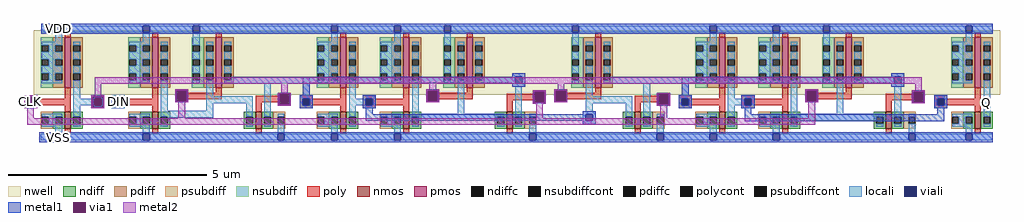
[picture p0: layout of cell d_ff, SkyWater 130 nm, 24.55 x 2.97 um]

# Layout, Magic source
magic
tech sky130A
magscale 1 2
<< nwell >>
rect -96 -288 4765 36
<< nmos >>
rect 60 -458 90 -374
rect 500 -458 530 -374
rect 1020 -458 1050 -374
rect 1447 -458 1477 -374
rect 1764 -458 1794 -374
rect 2283 -458 2313 -374
rect 2928 -458 2958 -374
rect 3353 -458 3383 -374
rect 3669 -458 3699 -374
rect 4190 -458 4220 -374
rect 4639 -458 4669 -374
<< pmos >>
rect 60 -252 90 0
rect 500 -252 530 0
rect 820 -252 850 0
rect 1447 -252 1477 0
rect 1764 -252 1794 0
rect 2083 -252 2113 0
rect 2728 -252 2758 0
rect 3353 -252 3383 0
rect 3669 -252 3699 0
rect 3990 -252 4020 0
rect 4639 -252 4669 0
<< ndiff >>
rect 0 -399 60 -374
rect 0 -433 13 -399
rect 47 -433 60 -399
rect 0 -458 60 -433
rect 90 -399 150 -374
rect 90 -433 103 -399
rect 137 -433 150 -399
rect 90 -458 150 -433
rect 440 -399 500 -374
rect 440 -433 453 -399
rect 487 -433 500 -399
rect 440 -458 500 -433
rect 530 -399 590 -374
rect 530 -433 543 -399
rect 577 -433 590 -399
rect 530 -458 590 -433
rect 960 -399 1020 -374
rect 960 -433 973 -399
rect 1007 -433 1020 -399
rect 960 -458 1020 -433
rect 1050 -399 1110 -374
rect 1050 -433 1063 -399
rect 1097 -433 1110 -399
rect 1050 -458 1110 -433
rect 1387 -399 1447 -374
rect 1387 -433 1400 -399
rect 1434 -433 1447 -399
rect 1387 -458 1447 -433
rect 1477 -399 1537 -374
rect 1477 -433 1490 -399
rect 1524 -433 1537 -399
rect 1477 -458 1537 -433
rect 1704 -399 1764 -374
rect 1704 -433 1717 -399
rect 1751 -433 1764 -399
rect 1704 -458 1764 -433
rect 1794 -399 1854 -374
rect 1794 -433 1807 -399
rect 1841 -433 1854 -399
rect 1794 -458 1854 -433
rect 2223 -399 2283 -374
rect 2223 -433 2236 -399
rect 2270 -433 2283 -399
rect 2223 -458 2283 -433
rect 2313 -399 2373 -374
rect 2313 -433 2326 -399
rect 2360 -433 2373 -399
rect 2313 -458 2373 -433
rect 2868 -399 2928 -374
rect 2868 -433 2881 -399
rect 2915 -433 2928 -399
rect 2868 -458 2928 -433
rect 2958 -399 3018 -374
rect 2958 -433 2971 -399
rect 3005 -433 3018 -399
rect 2958 -458 3018 -433
rect 3293 -399 3353 -374
rect 3293 -433 3306 -399
rect 3340 -433 3353 -399
rect 3293 -458 3353 -433
rect 3383 -399 3443 -374
rect 3383 -433 3396 -399
rect 3430 -433 3443 -399
rect 3383 -458 3443 -433
rect 3609 -399 3669 -374
rect 3609 -433 3622 -399
rect 3656 -433 3669 -399
rect 3609 -458 3669 -433
rect 3699 -399 3759 -374
rect 3699 -433 3712 -399
rect 3746 -433 3759 -399
rect 3699 -458 3759 -433
rect 4130 -399 4190 -374
rect 4130 -433 4143 -399
rect 4177 -433 4190 -399
rect 4130 -458 4190 -433
rect 4220 -399 4280 -374
rect 4220 -433 4233 -399
rect 4267 -433 4280 -399
rect 4220 -458 4280 -433
rect 4579 -399 4639 -374
rect 4579 -433 4592 -399
rect 4626 -433 4639 -399
rect 4579 -458 4639 -433
rect 4669 -399 4729 -374
rect 4669 -433 4682 -399
rect 4716 -433 4729 -399
rect 4669 -458 4729 -433
<< pdiff >>
rect 0 -38 60 0
rect 0 -72 13 -38
rect 47 -72 60 -38
rect 0 -109 60 -72
rect 0 -143 13 -109
rect 47 -143 60 -109
rect 0 -181 60 -143
rect 0 -215 13 -181
rect 47 -215 60 -181
rect 0 -252 60 -215
rect 90 -38 150 0
rect 90 -72 103 -38
rect 137 -72 150 -38
rect 90 -109 150 -72
rect 90 -143 103 -109
rect 137 -143 150 -109
rect 90 -181 150 -143
rect 90 -215 103 -181
rect 137 -215 150 -181
rect 90 -252 150 -215
rect 440 -38 500 0
rect 440 -72 453 -38
rect 487 -72 500 -38
rect 440 -109 500 -72
rect 440 -143 453 -109
rect 487 -143 500 -109
rect 440 -181 500 -143
rect 440 -215 453 -181
rect 487 -215 500 -181
rect 440 -252 500 -215
rect 530 -38 590 0
rect 530 -72 543 -38
rect 577 -72 590 -38
rect 530 -109 590 -72
rect 530 -143 543 -109
rect 577 -143 590 -109
rect 530 -181 590 -143
rect 530 -215 543 -181
rect 577 -215 590 -181
rect 530 -252 590 -215
rect 760 -38 820 0
rect 760 -72 773 -38
rect 807 -72 820 -38
rect 760 -109 820 -72
rect 760 -143 773 -109
rect 807 -143 820 -109
rect 760 -181 820 -143
rect 760 -215 773 -181
rect 807 -215 820 -181
rect 760 -252 820 -215
rect 850 -38 910 0
rect 850 -72 863 -38
rect 897 -72 910 -38
rect 850 -109 910 -72
rect 850 -143 863 -109
rect 897 -143 910 -109
rect 850 -181 910 -143
rect 850 -215 863 -181
rect 897 -215 910 -181
rect 850 -252 910 -215
rect 1387 -38 1447 0
rect 1387 -72 1400 -38
rect 1434 -72 1447 -38
rect 1387 -109 1447 -72
rect 1387 -143 1400 -109
rect 1434 -143 1447 -109
rect 1387 -181 1447 -143
rect 1387 -215 1400 -181
rect 1434 -215 1447 -181
rect 1387 -252 1447 -215
rect 1477 -38 1537 0
rect 1477 -72 1490 -38
rect 1524 -72 1537 -38
rect 1477 -109 1537 -72
rect 1477 -143 1490 -109
rect 1524 -143 1537 -109
rect 1477 -181 1537 -143
rect 1477 -215 1490 -181
rect 1524 -215 1537 -181
rect 1477 -252 1537 -215
rect 1704 -38 1764 0
rect 1704 -72 1717 -38
rect 1751 -72 1764 -38
rect 1704 -109 1764 -72
rect 1704 -143 1717 -109
rect 1751 -143 1764 -109
rect 1704 -181 1764 -143
rect 1704 -215 1717 -181
rect 1751 -215 1764 -181
rect 1704 -252 1764 -215
rect 1794 -38 1854 0
rect 1794 -72 1807 -38
rect 1841 -72 1854 -38
rect 1794 -109 1854 -72
rect 1794 -143 1807 -109
rect 1841 -143 1854 -109
rect 1794 -181 1854 -143
rect 1794 -215 1807 -181
rect 1841 -215 1854 -181
rect 1794 -252 1854 -215
rect 2023 -38 2083 0
rect 2023 -72 2036 -38
rect 2070 -72 2083 -38
rect 2023 -109 2083 -72
rect 2023 -143 2036 -109
rect 2070 -143 2083 -109
rect 2023 -181 2083 -143
rect 2023 -215 2036 -181
rect 2070 -215 2083 -181
rect 2023 -252 2083 -215
rect 2113 -38 2173 0
rect 2113 -72 2126 -38
rect 2160 -72 2173 -38
rect 2113 -109 2173 -72
rect 2113 -143 2126 -109
rect 2160 -143 2173 -109
rect 2113 -181 2173 -143
rect 2113 -215 2126 -181
rect 2160 -215 2173 -181
rect 2113 -252 2173 -215
rect 2668 -38 2728 0
rect 2668 -72 2681 -38
rect 2715 -72 2728 -38
rect 2668 -109 2728 -72
rect 2668 -143 2681 -109
rect 2715 -143 2728 -109
rect 2668 -181 2728 -143
rect 2668 -215 2681 -181
rect 2715 -215 2728 -181
rect 2668 -252 2728 -215
rect 2758 -38 2818 0
rect 2758 -72 2771 -38
rect 2805 -72 2818 -38
rect 2758 -109 2818 -72
rect 2758 -143 2771 -109
rect 2805 -143 2818 -109
rect 2758 -181 2818 -143
rect 2758 -215 2771 -181
rect 2805 -215 2818 -181
rect 2758 -252 2818 -215
rect 3293 -38 3353 0
rect 3293 -72 3306 -38
rect 3340 -72 3353 -38
rect 3293 -109 3353 -72
rect 3293 -143 3306 -109
rect 3340 -143 3353 -109
rect 3293 -181 3353 -143
rect 3293 -215 3306 -181
rect 3340 -215 3353 -181
rect 3293 -252 3353 -215
rect 3383 -38 3443 0
rect 3383 -72 3396 -38
rect 3430 -72 3443 -38
rect 3383 -109 3443 -72
rect 3383 -143 3396 -109
rect 3430 -143 3443 -109
rect 3383 -181 3443 -143
rect 3383 -215 3396 -181
rect 3430 -215 3443 -181
rect 3383 -252 3443 -215
rect 3609 -38 3669 0
rect 3609 -72 3622 -38
rect 3656 -72 3669 -38
rect 3609 -109 3669 -72
rect 3609 -143 3622 -109
rect 3656 -143 3669 -109
rect 3609 -181 3669 -143
rect 3609 -215 3622 -181
rect 3656 -215 3669 -181
rect 3609 -252 3669 -215
rect 3699 -38 3759 0
rect 3699 -72 3712 -38
rect 3746 -72 3759 -38
rect 3699 -109 3759 -72
rect 3699 -143 3712 -109
rect 3746 -143 3759 -109
rect 3699 -181 3759 -143
rect 3699 -215 3712 -181
rect 3746 -215 3759 -181
rect 3699 -252 3759 -215
rect 3930 -38 3990 0
rect 3930 -72 3943 -38
rect 3977 -72 3990 -38
rect 3930 -109 3990 -72
rect 3930 -143 3943 -109
rect 3977 -143 3990 -109
rect 3930 -181 3990 -143
rect 3930 -215 3943 -181
rect 3977 -215 3990 -181
rect 3930 -252 3990 -215
rect 4020 -38 4080 0
rect 4020 -72 4033 -38
rect 4067 -72 4080 -38
rect 4020 -109 4080 -72
rect 4020 -143 4033 -109
rect 4067 -143 4080 -109
rect 4020 -181 4080 -143
rect 4020 -215 4033 -181
rect 4067 -215 4080 -181
rect 4020 -252 4080 -215
rect 4579 -38 4639 0
rect 4579 -72 4592 -38
rect 4626 -72 4639 -38
rect 4579 -109 4639 -72
rect 4579 -143 4592 -109
rect 4626 -143 4639 -109
rect 4579 -181 4639 -143
rect 4579 -215 4592 -181
rect 4626 -215 4639 -181
rect 4579 -252 4639 -215
rect 4669 -38 4729 0
rect 4669 -72 4682 -38
rect 4716 -72 4729 -38
rect 4669 -109 4729 -72
rect 4669 -143 4682 -109
rect 4716 -143 4729 -109
rect 4669 -181 4729 -143
rect 4669 -215 4682 -181
rect 4716 -215 4729 -181
rect 4669 -252 4729 -215
<< ndiffc >>
rect 13 -433 47 -399
rect 103 -433 137 -399
rect 453 -433 487 -399
rect 543 -433 577 -399
rect 973 -433 1007 -399
rect 1063 -433 1097 -399
rect 1400 -433 1434 -399
rect 1490 -433 1524 -399
rect 1717 -433 1751 -399
rect 1807 -433 1841 -399
rect 2236 -433 2270 -399
rect 2326 -433 2360 -399
rect 2881 -433 2915 -399
rect 2971 -433 3005 -399
rect 3306 -433 3340 -399
rect 3396 -433 3430 -399
rect 3622 -433 3656 -399
rect 3712 -433 3746 -399
rect 4143 -433 4177 -399
rect 4233 -433 4267 -399
rect 4592 -433 4626 -399
rect 4682 -433 4716 -399
<< pdiffc >>
rect 13 -72 47 -38
rect 13 -143 47 -109
rect 13 -215 47 -181
rect 103 -72 137 -38
rect 103 -143 137 -109
rect 103 -215 137 -181
rect 453 -72 487 -38
rect 453 -143 487 -109
rect 453 -215 487 -181
rect 543 -72 577 -38
rect 543 -143 577 -109
rect 543 -215 577 -181
rect 773 -72 807 -38
rect 773 -143 807 -109
rect 773 -215 807 -181
rect 863 -72 897 -38
rect 863 -143 897 -109
rect 863 -215 897 -181
rect 1400 -72 1434 -38
rect 1400 -143 1434 -109
rect 1400 -215 1434 -181
rect 1490 -72 1524 -38
rect 1490 -143 1524 -109
rect 1490 -215 1524 -181
rect 1717 -72 1751 -38
rect 1717 -143 1751 -109
rect 1717 -215 1751 -181
rect 1807 -72 1841 -38
rect 1807 -143 1841 -109
rect 1807 -215 1841 -181
rect 2036 -72 2070 -38
rect 2036 -143 2070 -109
rect 2036 -215 2070 -181
rect 2126 -72 2160 -38
rect 2126 -143 2160 -109
rect 2126 -215 2160 -181
rect 2681 -72 2715 -38
rect 2681 -143 2715 -109
rect 2681 -215 2715 -181
rect 2771 -72 2805 -38
rect 2771 -143 2805 -109
rect 2771 -215 2805 -181
rect 3306 -72 3340 -38
rect 3306 -143 3340 -109
rect 3306 -215 3340 -181
rect 3396 -72 3430 -38
rect 3396 -143 3430 -109
rect 3396 -215 3430 -181
rect 3622 -72 3656 -38
rect 3622 -143 3656 -109
rect 3622 -215 3656 -181
rect 3712 -72 3746 -38
rect 3712 -143 3746 -109
rect 3712 -215 3746 -181
rect 3943 -72 3977 -38
rect 3943 -143 3977 -109
rect 3943 -215 3977 -181
rect 4033 -72 4067 -38
rect 4033 -143 4067 -109
rect 4033 -215 4067 -181
rect 4592 -72 4626 -38
rect 4592 -143 4626 -109
rect 4592 -215 4626 -181
rect 4682 -72 4716 -38
rect 4682 -143 4716 -109
rect 4682 -215 4716 -181
<< psubdiff >>
rect -60 -399 0 -374
rect -60 -433 -55 -399
rect -21 -433 0 -399
rect -60 -458 0 -433
rect 380 -399 440 -374
rect 380 -433 385 -399
rect 419 -433 440 -399
rect 380 -458 440 -433
rect 1110 -399 1170 -374
rect 1110 -433 1131 -399
rect 1165 -433 1170 -399
rect 1110 -458 1170 -433
rect 1327 -399 1387 -374
rect 1327 -433 1332 -399
rect 1366 -433 1387 -399
rect 1327 -458 1387 -433
rect 1644 -399 1704 -374
rect 1644 -433 1649 -399
rect 1683 -433 1704 -399
rect 1644 -458 1704 -433
rect 2373 -399 2433 -374
rect 2373 -433 2398 -399
rect 2432 -433 2433 -399
rect 2373 -458 2433 -433
rect 3018 -399 3078 -374
rect 3018 -433 3039 -399
rect 3073 -433 3078 -399
rect 3018 -458 3078 -433
rect 3233 -399 3293 -374
rect 3233 -433 3238 -399
rect 3272 -433 3293 -399
rect 3233 -458 3293 -433
rect 3549 -399 3609 -374
rect 3549 -433 3554 -399
rect 3588 -433 3609 -399
rect 3549 -458 3609 -433
rect 4280 -399 4340 -374
rect 4280 -433 4305 -399
rect 4339 -433 4340 -399
rect 4280 -458 4340 -433
rect 4519 -399 4579 -374
rect 4519 -433 4524 -399
rect 4558 -433 4579 -399
rect 4519 -458 4579 -433
<< nsubdiff >>
rect -60 -38 0 0
rect -60 -72 -55 -38
rect -21 -72 0 -38
rect -60 -109 0 -72
rect -60 -143 -55 -109
rect -21 -143 0 -109
rect -60 -181 0 -143
rect -60 -215 -55 -181
rect -21 -215 0 -181
rect -60 -252 0 -215
rect 380 -38 440 0
rect 380 -72 385 -38
rect 419 -72 440 -38
rect 380 -109 440 -72
rect 380 -143 385 -109
rect 419 -143 440 -109
rect 380 -181 440 -143
rect 380 -215 385 -181
rect 419 -215 440 -181
rect 380 -252 440 -215
rect 700 -38 760 0
rect 700 -72 705 -38
rect 739 -72 760 -38
rect 700 -109 760 -72
rect 700 -143 705 -109
rect 739 -143 760 -109
rect 700 -181 760 -143
rect 700 -215 705 -181
rect 739 -215 760 -181
rect 700 -252 760 -215
rect 1327 -38 1387 0
rect 1327 -72 1332 -38
rect 1366 -72 1387 -38
rect 1327 -109 1387 -72
rect 1327 -143 1332 -109
rect 1366 -143 1387 -109
rect 1327 -181 1387 -143
rect 1327 -215 1332 -181
rect 1366 -215 1387 -181
rect 1327 -252 1387 -215
rect 1644 -38 1704 0
rect 1644 -72 1649 -38
rect 1683 -72 1704 -38
rect 1644 -109 1704 -72
rect 1644 -143 1649 -109
rect 1683 -143 1704 -109
rect 1644 -181 1704 -143
rect 1644 -215 1649 -181
rect 1683 -215 1704 -181
rect 1644 -252 1704 -215
rect 1963 -38 2023 0
rect 1963 -72 1968 -38
rect 2002 -72 2023 -38
rect 1963 -109 2023 -72
rect 1963 -143 1968 -109
rect 2002 -143 2023 -109
rect 1963 -181 2023 -143
rect 1963 -215 1968 -181
rect 2002 -215 2023 -181
rect 1963 -252 2023 -215
rect 2608 -38 2668 0
rect 2608 -72 2613 -38
rect 2647 -72 2668 -38
rect 2608 -109 2668 -72
rect 2608 -143 2613 -109
rect 2647 -143 2668 -109
rect 2608 -181 2668 -143
rect 2608 -215 2613 -181
rect 2647 -215 2668 -181
rect 2608 -252 2668 -215
rect 3233 -38 3293 0
rect 3233 -72 3238 -38
rect 3272 -72 3293 -38
rect 3233 -109 3293 -72
rect 3233 -143 3238 -109
rect 3272 -143 3293 -109
rect 3233 -181 3293 -143
rect 3233 -215 3238 -181
rect 3272 -215 3293 -181
rect 3233 -252 3293 -215
rect 3549 -38 3609 0
rect 3549 -72 3554 -38
rect 3588 -72 3609 -38
rect 3549 -109 3609 -72
rect 3549 -143 3554 -109
rect 3588 -143 3609 -109
rect 3549 -181 3609 -143
rect 3549 -215 3554 -181
rect 3588 -215 3609 -181
rect 3549 -252 3609 -215
rect 3870 -38 3930 0
rect 3870 -72 3875 -38
rect 3909 -72 3930 -38
rect 3870 -109 3930 -72
rect 3870 -143 3875 -109
rect 3909 -143 3930 -109
rect 3870 -181 3930 -143
rect 3870 -215 3875 -181
rect 3909 -215 3930 -181
rect 3870 -252 3930 -215
rect 4519 -38 4579 0
rect 4519 -72 4524 -38
rect 4558 -72 4579 -38
rect 4519 -109 4579 -72
rect 4519 -143 4524 -109
rect 4558 -143 4579 -109
rect 4519 -181 4579 -143
rect 4519 -215 4524 -181
rect 4558 -215 4579 -181
rect 4519 -252 4579 -215
<< psubdiffcont >>
rect -55 -433 -21 -399
rect 385 -433 419 -399
rect 1131 -433 1165 -399
rect 1332 -433 1366 -399
rect 1649 -433 1683 -399
rect 2398 -433 2432 -399
rect 3039 -433 3073 -399
rect 3238 -433 3272 -399
rect 3554 -433 3588 -399
rect 4305 -433 4339 -399
rect 4524 -433 4558 -399
<< nsubdiffcont >>
rect -55 -72 -21 -38
rect -55 -143 -21 -109
rect -55 -215 -21 -181
rect 385 -72 419 -38
rect 385 -143 419 -109
rect 385 -215 419 -181
rect 705 -72 739 -38
rect 705 -143 739 -109
rect 705 -215 739 -181
rect 1332 -72 1366 -38
rect 1332 -143 1366 -109
rect 1332 -215 1366 -181
rect 1649 -72 1683 -38
rect 1649 -143 1683 -109
rect 1649 -215 1683 -181
rect 1968 -72 2002 -38
rect 1968 -143 2002 -109
rect 1968 -215 2002 -181
rect 2613 -72 2647 -38
rect 2613 -143 2647 -109
rect 2613 -215 2647 -181
rect 3238 -72 3272 -38
rect 3238 -143 3272 -109
rect 3238 -215 3272 -181
rect 3554 -72 3588 -38
rect 3554 -143 3588 -109
rect 3554 -215 3588 -181
rect 3875 -72 3909 -38
rect 3875 -143 3909 -109
rect 3875 -215 3909 -181
rect 4524 -72 4558 -38
rect 4524 -143 4558 -109
rect 4524 -215 4558 -181
<< poly >>
rect 60 0 90 26
rect 500 0 530 26
rect 820 0 850 26
rect 1447 0 1477 26
rect 1764 0 1794 26
rect 2083 0 2113 26
rect 2728 0 2758 26
rect 3353 0 3383 26
rect 3669 0 3699 26
rect 3990 0 4020 26
rect 4639 0 4669 26
rect -145 -307 -79 -291
rect -145 -341 -129 -307
rect -95 -308 -79 -307
rect 60 -308 90 -252
rect -95 -341 90 -308
rect -145 -342 90 -341
rect -145 -357 -79 -342
rect 60 -374 90 -342
rect 295 -307 361 -291
rect 295 -341 311 -307
rect 345 -308 361 -307
rect 500 -308 530 -252
rect 345 -341 530 -308
rect 615 -277 681 -261
rect 615 -311 631 -277
rect 665 -278 681 -277
rect 820 -278 850 -252
rect 665 -311 850 -278
rect 1131 -293 1198 -277
rect 615 -312 850 -311
rect 615 -327 681 -312
rect 1020 -327 1148 -293
rect 1182 -327 1198 -293
rect 295 -342 530 -341
rect 295 -357 361 -342
rect 500 -374 530 -342
rect 1020 -374 1050 -327
rect 1131 -343 1198 -327
rect 1242 -308 1308 -291
rect 1447 -308 1477 -252
rect 1242 -342 1258 -308
rect 1292 -342 1477 -308
rect 1242 -357 1308 -342
rect 1447 -374 1477 -342
rect 1559 -307 1625 -291
rect 1559 -341 1575 -307
rect 1609 -308 1625 -307
rect 1764 -308 1794 -252
rect 1609 -341 1794 -308
rect 1878 -277 1944 -261
rect 1878 -311 1894 -277
rect 1928 -278 1944 -277
rect 2083 -278 2113 -252
rect 1928 -311 2113 -278
rect 2414 -282 2481 -266
rect 1878 -312 2113 -311
rect 1878 -327 1944 -312
rect 2283 -316 2431 -282
rect 2465 -316 2481 -282
rect 1559 -342 1794 -341
rect 1559 -357 1625 -342
rect 1764 -374 1794 -342
rect 2283 -374 2313 -316
rect 2414 -332 2481 -316
rect 2523 -277 2589 -261
rect 2523 -311 2539 -277
rect 2573 -278 2589 -277
rect 2728 -278 2758 -252
rect 2573 -311 2758 -278
rect 3039 -293 3106 -277
rect 2523 -312 2758 -311
rect 2523 -327 2589 -312
rect 2928 -327 3056 -293
rect 3090 -327 3106 -293
rect 2928 -374 2958 -327
rect 3039 -343 3106 -327
rect 3148 -307 3214 -291
rect 3148 -341 3164 -307
rect 3198 -308 3214 -307
rect 3353 -308 3383 -252
rect 3198 -341 3383 -308
rect 3148 -342 3383 -341
rect 3148 -357 3214 -342
rect 3353 -374 3383 -342
rect 3464 -307 3530 -291
rect 3464 -341 3480 -307
rect 3514 -308 3530 -307
rect 3669 -308 3699 -252
rect 3514 -341 3699 -308
rect 3785 -277 3851 -261
rect 3785 -311 3801 -277
rect 3835 -278 3851 -277
rect 3990 -278 4020 -252
rect 3835 -311 4020 -278
rect 4321 -282 4387 -266
rect 3785 -312 4020 -311
rect 3785 -327 3851 -312
rect 4190 -316 4338 -282
rect 4372 -316 4387 -282
rect 3464 -342 3699 -341
rect 3464 -357 3530 -342
rect 3669 -374 3699 -342
rect 4190 -374 4220 -316
rect 4321 -332 4387 -316
rect 4434 -307 4500 -291
rect 4434 -341 4450 -307
rect 4484 -308 4500 -307
rect 4639 -308 4669 -252
rect 4484 -341 4669 -308
rect 4434 -342 4669 -341
rect 4434 -357 4500 -342
rect 4639 -374 4669 -342
rect 60 -484 90 -458
rect 500 -484 530 -458
rect 1020 -484 1050 -458
rect 1447 -484 1477 -458
rect 1764 -484 1794 -458
rect 2283 -484 2313 -458
rect 2928 -484 2958 -458
rect 3353 -484 3383 -458
rect 3669 -484 3699 -458
rect 4190 -484 4220 -458
rect 4639 -484 4669 -458
<< polycont >>
rect -129 -341 -95 -307
rect 311 -341 345 -307
rect 631 -311 665 -277
rect 1148 -327 1182 -293
rect 1258 -342 1292 -308
rect 1575 -341 1609 -307
rect 1894 -311 1928 -277
rect 2431 -316 2465 -282
rect 2539 -311 2573 -277
rect 3056 -327 3090 -293
rect 3164 -341 3198 -307
rect 3480 -341 3514 -307
rect 3801 -311 3835 -277
rect 4338 -316 4372 -282
rect 4450 -341 4484 -307
<< locali >>
rect -59 26 13 60
rect 47 26 453 60
rect 487 26 705 60
rect 739 26 1400 60
rect 1434 26 1717 60
rect 1751 26 1968 60
rect 2002 26 2613 60
rect 2647 26 3306 60
rect 3340 26 3622 60
rect 3656 26 3875 60
rect 3909 26 4592 60
rect 4626 26 4729 60
rect 13 -22 47 26
rect 453 -22 487 26
rect -55 -38 47 -22
rect -21 -72 13 -38
rect -55 -109 47 -72
rect -21 -143 13 -109
rect -55 -181 47 -143
rect -21 -215 13 -181
rect -55 -231 47 -215
rect 103 -38 137 -22
rect 103 -109 137 -72
rect 103 -181 137 -143
rect -145 -307 -79 -291
rect -145 -341 -129 -307
rect -95 -341 -79 -307
rect -145 -357 -79 -341
rect 103 -307 137 -215
rect 385 -38 487 -22
rect 419 -72 453 -38
rect 385 -109 487 -72
rect 419 -143 453 -109
rect 385 -181 487 -143
rect 419 -215 453 -181
rect 385 -231 487 -215
rect 543 -38 577 -22
rect 543 -109 577 -72
rect 543 -181 577 -143
rect 193 -307 259 -291
rect 103 -341 210 -307
rect 244 -341 259 -307
rect -55 -399 47 -383
rect -21 -433 13 -399
rect -55 -449 47 -433
rect 103 -399 137 -341
rect 193 -357 259 -341
rect 295 -307 361 -291
rect 295 -341 311 -307
rect 345 -341 361 -307
rect 295 -357 361 -341
rect 543 -369 577 -215
rect 705 -38 739 26
rect 1400 -22 1434 26
rect 1717 -22 1751 26
rect 705 -109 739 -72
rect 705 -181 739 -143
rect 705 -231 739 -215
rect 773 -38 807 -22
rect 773 -109 807 -72
rect 773 -181 807 -143
rect 615 -277 681 -261
rect 615 -311 631 -277
rect 665 -311 681 -277
rect 615 -327 681 -311
rect 773 -296 807 -215
rect 863 -38 897 -22
rect 863 -109 897 -72
rect 863 -181 897 -143
rect 1332 -38 1434 -22
rect 1366 -72 1400 -38
rect 1332 -109 1434 -72
rect 1366 -143 1400 -109
rect 1332 -181 1434 -143
rect 897 -215 1292 -197
rect 863 -231 1292 -215
rect 1366 -215 1400 -181
rect 1332 -231 1434 -215
rect 1490 -38 1524 -22
rect 1490 -109 1524 -72
rect 1490 -181 1524 -143
rect 773 -330 1007 -296
rect 773 -331 847 -330
rect 773 -369 807 -331
rect 103 -449 137 -433
rect 385 -399 487 -383
rect 419 -433 453 -399
rect 385 -449 487 -433
rect 543 -399 807 -369
rect 577 -404 807 -399
rect 973 -399 1007 -330
rect 543 -449 577 -433
rect 973 -449 1007 -433
rect 1063 -399 1097 -231
rect 1131 -293 1198 -277
rect 1258 -291 1292 -231
rect 1131 -327 1148 -293
rect 1182 -327 1198 -293
rect 1131 -343 1198 -327
rect 1242 -308 1308 -291
rect 1242 -342 1258 -308
rect 1292 -342 1308 -308
rect 1242 -357 1308 -342
rect 1490 -307 1524 -215
rect 1649 -38 1751 -22
rect 1683 -72 1717 -38
rect 1649 -109 1751 -72
rect 1683 -143 1717 -109
rect 1649 -181 1751 -143
rect 1683 -215 1717 -181
rect 1649 -231 1751 -215
rect 1807 -38 1841 -22
rect 1807 -109 1841 -72
rect 1807 -181 1841 -143
rect 1559 -307 1625 -291
rect 1490 -341 1575 -307
rect 1609 -341 1625 -307
rect 1063 -449 1097 -433
rect 1131 -399 1165 -383
rect 13 -484 47 -449
rect 453 -484 487 -449
rect 1131 -484 1165 -433
rect 1332 -399 1434 -383
rect 1366 -433 1400 -399
rect 1332 -449 1434 -433
rect 1490 -399 1524 -341
rect 1559 -357 1625 -341
rect 1490 -449 1524 -433
rect 1649 -399 1751 -383
rect 1683 -433 1717 -399
rect 1649 -449 1751 -433
rect 1807 -384 1841 -215
rect 1968 -38 2002 26
rect 1968 -109 2002 -72
rect 1968 -181 2002 -143
rect 1968 -231 2002 -215
rect 2036 -38 2070 -22
rect 2036 -109 2070 -72
rect 2036 -181 2070 -143
rect 1878 -277 1944 -261
rect 1878 -311 1894 -277
rect 1928 -311 1944 -277
rect 1878 -327 1944 -311
rect 2036 -384 2070 -215
rect 2126 -38 2160 -22
rect 2126 -109 2160 -72
rect 2126 -181 2160 -143
rect 2613 -38 2647 26
rect 3306 -22 3340 26
rect 3622 -22 3656 26
rect 2613 -109 2647 -72
rect 2613 -181 2647 -143
rect 2311 -197 2377 -181
rect 2160 -215 2327 -197
rect 2126 -231 2327 -215
rect 2361 -231 2377 -197
rect 2613 -231 2647 -215
rect 2681 -38 2715 -22
rect 2681 -109 2715 -72
rect 2681 -181 2715 -143
rect 2311 -247 2377 -231
rect 2236 -384 2270 -383
rect 1807 -399 2270 -384
rect 1841 -418 2236 -399
rect 1807 -449 1841 -433
rect 2236 -449 2270 -433
rect 2326 -399 2360 -247
rect 2414 -282 2481 -266
rect 2414 -316 2431 -282
rect 2465 -316 2481 -282
rect 2414 -332 2481 -316
rect 2523 -277 2589 -261
rect 2523 -311 2539 -277
rect 2573 -311 2589 -277
rect 2523 -327 2589 -311
rect 2681 -296 2715 -215
rect 2771 -38 2805 -22
rect 2771 -109 2805 -72
rect 2771 -181 2805 -143
rect 3238 -38 3340 -22
rect 3272 -72 3306 -38
rect 3238 -109 3340 -72
rect 3272 -143 3306 -109
rect 3238 -181 3340 -143
rect 2805 -215 3198 -197
rect 2771 -231 3198 -215
rect 3272 -215 3306 -181
rect 3238 -231 3340 -215
rect 3396 -38 3430 -22
rect 3396 -109 3430 -72
rect 3396 -181 3430 -143
rect 2681 -330 2915 -296
rect 2681 -370 2715 -330
rect 2326 -449 2360 -433
rect 2398 -399 2432 -383
rect 1400 -484 1434 -449
rect 1717 -484 1751 -449
rect 2398 -484 2432 -433
rect 2665 -385 2731 -370
rect 2665 -419 2681 -385
rect 2715 -419 2731 -385
rect 2665 -436 2731 -419
rect 2881 -399 2915 -330
rect 2881 -449 2915 -433
rect 2971 -399 3005 -231
rect 3039 -293 3106 -277
rect 3164 -291 3198 -231
rect 3039 -327 3056 -293
rect 3090 -327 3106 -293
rect 3039 -343 3106 -327
rect 3148 -307 3214 -291
rect 3148 -341 3164 -307
rect 3198 -341 3214 -307
rect 3148 -357 3214 -341
rect 3396 -307 3430 -215
rect 3554 -38 3656 -22
rect 3588 -72 3622 -38
rect 3554 -109 3656 -72
rect 3588 -143 3622 -109
rect 3554 -181 3656 -143
rect 3588 -215 3622 -181
rect 3554 -231 3656 -215
rect 3712 -38 3746 -22
rect 3712 -109 3746 -72
rect 3712 -181 3746 -143
rect 3464 -307 3530 -291
rect 3396 -341 3480 -307
rect 3514 -341 3530 -307
rect 2971 -449 3005 -433
rect 3039 -399 3073 -383
rect 3039 -484 3073 -433
rect 3238 -399 3340 -383
rect 3272 -433 3306 -399
rect 3238 -449 3340 -433
rect 3396 -399 3430 -341
rect 3464 -357 3530 -341
rect 3396 -449 3430 -433
rect 3554 -399 3656 -383
rect 3588 -433 3622 -399
rect 3554 -449 3656 -433
rect 3712 -384 3746 -215
rect 3875 -38 3909 26
rect 4592 -22 4626 26
rect 3875 -109 3909 -72
rect 3875 -181 3909 -143
rect 3875 -231 3909 -215
rect 3943 -38 3977 -22
rect 3943 -109 3977 -72
rect 3943 -181 3977 -143
rect 3785 -277 3851 -261
rect 3785 -311 3801 -277
rect 3835 -311 3851 -277
rect 3785 -327 3851 -311
rect 3943 -384 3977 -215
rect 4033 -38 4067 -22
rect 4033 -109 4067 -72
rect 4033 -181 4067 -143
rect 4524 -38 4626 -22
rect 4558 -72 4592 -38
rect 4524 -109 4626 -72
rect 4558 -143 4592 -109
rect 4524 -181 4626 -143
rect 4218 -197 4284 -181
rect 4067 -215 4234 -197
rect 4033 -231 4234 -215
rect 4268 -231 4284 -197
rect 4558 -215 4592 -181
rect 4524 -231 4626 -215
rect 4682 -38 4716 -22
rect 4682 -109 4716 -72
rect 4682 -181 4716 -143
rect 4218 -247 4284 -231
rect 4143 -384 4177 -383
rect 3712 -399 4177 -384
rect 3746 -418 4143 -399
rect 3712 -449 3746 -433
rect 4143 -449 4177 -433
rect 4233 -399 4267 -247
rect 4321 -282 4387 -266
rect 4321 -316 4338 -282
rect 4372 -316 4387 -282
rect 4321 -332 4387 -316
rect 4434 -307 4500 -291
rect 4434 -341 4450 -307
rect 4484 -341 4500 -307
rect 4434 -357 4500 -341
rect 4233 -449 4267 -433
rect 4305 -399 4339 -383
rect 3306 -484 3340 -449
rect 3622 -484 3656 -449
rect 4305 -484 4339 -433
rect 4524 -399 4626 -383
rect 4558 -433 4592 -399
rect 4524 -449 4626 -433
rect 4682 -399 4716 -215
rect 4682 -449 4716 -433
rect 4592 -484 4626 -449
rect -60 -518 13 -484
rect 47 -518 453 -484
rect 487 -518 1131 -484
rect 1165 -518 1400 -484
rect 1434 -518 1717 -484
rect 1751 -518 2398 -484
rect 2432 -518 3039 -484
rect 3073 -518 3306 -484
rect 3340 -518 3622 -484
rect 3656 -518 4305 -484
rect 4339 -518 4592 -484
rect 4626 -518 4728 -484
<< viali >>
rect 13 26 47 60
rect 453 26 487 60
rect 705 26 739 60
rect 1400 26 1434 60
rect 1717 26 1751 60
rect 1968 26 2002 60
rect 2613 26 2647 60
rect 3306 26 3340 60
rect 3622 26 3656 60
rect 3875 26 3909 60
rect 4592 26 4626 60
rect -129 -341 -95 -307
rect 210 -341 244 -307
rect 631 -311 665 -277
rect 1148 -327 1182 -293
rect 1258 -342 1292 -308
rect 1575 -341 1609 -307
rect 1894 -311 1928 -277
rect 2327 -231 2361 -197
rect 2431 -316 2465 -282
rect 2539 -311 2573 -277
rect 2681 -419 2715 -385
rect 3056 -327 3090 -293
rect 3164 -341 3198 -307
rect 3480 -341 3514 -307
rect 3801 -311 3835 -277
rect 4234 -231 4268 -197
rect 4338 -316 4372 -282
rect 4450 -341 4484 -307
rect 13 -518 47 -484
rect 453 -518 487 -484
rect 1131 -518 1165 -484
rect 1400 -518 1434 -484
rect 1717 -518 1751 -484
rect 2398 -518 2432 -484
rect 3039 -518 3073 -484
rect 3306 -518 3340 -484
rect 3622 -518 3656 -484
rect 4305 -518 4339 -484
rect 4592 -518 4626 -484
<< metal1 >>
rect -59 60 4729 68
rect -59 26 13 60
rect 47 26 453 60
rect 487 26 705 60
rect 739 26 1400 60
rect 1434 26 1717 60
rect 1751 26 1968 60
rect 2002 26 2613 60
rect 2647 26 3306 60
rect 3340 26 3622 60
rect 3656 26 3875 60
rect 3909 26 4592 60
rect 4626 26 4729 60
rect -59 19 4729 26
rect 2311 -197 2377 -181
rect 4218 -197 4284 -181
rect 1258 -231 2327 -197
rect 2361 -231 2377 -197
rect 615 -268 681 -261
rect -145 -298 -79 -291
rect -145 -350 -138 -298
rect -86 -350 -79 -298
rect -145 -357 -79 -350
rect 193 -298 259 -291
rect 193 -350 201 -298
rect 253 -350 259 -298
rect 615 -320 622 -268
rect 674 -320 681 -268
rect 615 -327 681 -320
rect 1131 -284 1198 -277
rect 1131 -336 1139 -284
rect 1191 -336 1198 -284
rect 1258 -291 1292 -231
rect 2311 -247 2377 -231
rect 3164 -231 4234 -197
rect 4268 -231 4284 -197
rect 1878 -268 1944 -261
rect 1131 -343 1198 -336
rect 1242 -308 1308 -291
rect 1242 -342 1258 -308
rect 1292 -342 1308 -308
rect 193 -357 259 -350
rect 1242 -357 1308 -342
rect 1559 -307 1625 -291
rect 1559 -341 1575 -307
rect 1609 -341 1625 -307
rect 1878 -320 1885 -268
rect 1937 -320 1944 -268
rect 1878 -327 1944 -320
rect 2414 -273 2481 -266
rect 2414 -325 2421 -273
rect 2473 -325 2481 -273
rect 2414 -332 2481 -325
rect 2523 -268 2589 -261
rect 2523 -320 2530 -268
rect 2582 -320 2589 -268
rect 2523 -327 2589 -320
rect 3039 -284 3106 -277
rect 1559 -357 1625 -341
rect 3039 -336 3047 -284
rect 3099 -336 3106 -284
rect 3164 -291 3198 -231
rect 4218 -247 4284 -231
rect 3785 -268 3851 -261
rect 3039 -343 3106 -336
rect 3148 -307 3214 -291
rect 3148 -341 3164 -307
rect 3198 -341 3214 -307
rect 3148 -357 3214 -341
rect 3464 -307 3530 -291
rect 3464 -341 3480 -307
rect 3514 -341 3530 -307
rect 3785 -320 3792 -268
rect 3844 -320 3851 -268
rect 3785 -327 3851 -320
rect 4321 -273 4387 -266
rect 4321 -325 4329 -273
rect 4381 -325 4387 -273
rect 4321 -332 4387 -325
rect 4434 -307 4500 -291
rect 3464 -357 3530 -341
rect 4434 -341 4450 -307
rect 4484 -341 4500 -307
rect 4434 -357 4500 -341
rect 1575 -385 1609 -357
rect 2665 -385 2731 -370
rect 1575 -419 2681 -385
rect 2715 -419 2731 -385
rect 2665 -436 2731 -419
rect 3480 -387 3514 -357
rect 4450 -387 4484 -357
rect 3480 -421 4484 -387
rect -68 -484 4728 -477
rect -68 -518 13 -484
rect 47 -518 453 -484
rect 487 -518 1131 -484
rect 1165 -518 1400 -484
rect 1434 -518 1717 -484
rect 1751 -518 2398 -484
rect 2432 -518 3039 -484
rect 3073 -518 3306 -484
rect 3340 -518 3622 -484
rect 3656 -518 4305 -484
rect 4339 -518 4592 -484
rect 4626 -518 4728 -484
rect -68 -526 4728 -518
<< via1 >>
rect -138 -307 -86 -298
rect -138 -341 -129 -307
rect -129 -341 -95 -307
rect -95 -341 -86 -307
rect -138 -350 -86 -341
rect 201 -307 253 -298
rect 201 -341 210 -307
rect 210 -341 244 -307
rect 244 -341 253 -307
rect 201 -350 253 -341
rect 622 -277 674 -268
rect 622 -311 631 -277
rect 631 -311 665 -277
rect 665 -311 674 -277
rect 622 -320 674 -311
rect 1139 -293 1191 -284
rect 1139 -327 1148 -293
rect 1148 -327 1182 -293
rect 1182 -327 1191 -293
rect 1139 -336 1191 -327
rect 1885 -277 1937 -268
rect 1885 -311 1894 -277
rect 1894 -311 1928 -277
rect 1928 -311 1937 -277
rect 1885 -320 1937 -311
rect 2421 -282 2473 -273
rect 2421 -316 2431 -282
rect 2431 -316 2465 -282
rect 2465 -316 2473 -282
rect 2421 -325 2473 -316
rect 2530 -277 2582 -268
rect 2530 -311 2539 -277
rect 2539 -311 2573 -277
rect 2573 -311 2582 -277
rect 2530 -320 2582 -311
rect 3047 -293 3099 -284
rect 3047 -327 3056 -293
rect 3056 -327 3090 -293
rect 3090 -327 3099 -293
rect 3047 -336 3099 -327
rect 3792 -277 3844 -268
rect 3792 -311 3801 -277
rect 3801 -311 3835 -277
rect 3835 -311 3844 -277
rect 3792 -320 3844 -311
rect 4329 -282 4381 -273
rect 4329 -316 4338 -282
rect 4338 -316 4372 -282
rect 4372 -316 4381 -282
rect 4329 -325 4381 -316
<< metal2 >>
rect 210 -233 4372 -199
rect 210 -291 244 -233
rect 615 -268 681 -261
rect -145 -298 -79 -291
rect -145 -350 -138 -298
rect -86 -350 -79 -298
rect -145 -357 -79 -350
rect 193 -298 259 -291
rect 193 -350 201 -298
rect 253 -350 259 -298
rect 615 -320 622 -268
rect 674 -320 681 -268
rect 1148 -277 1182 -233
rect 1894 -261 1928 -233
rect 2539 -261 2573 -233
rect 1878 -268 1944 -261
rect 615 -327 681 -320
rect 1131 -284 1198 -277
rect 193 -357 259 -350
rect -129 -406 -95 -357
rect 631 -406 665 -327
rect 1131 -336 1139 -284
rect 1191 -336 1198 -284
rect 1878 -320 1885 -268
rect 1937 -320 1944 -268
rect 1878 -327 1944 -320
rect 2414 -273 2481 -266
rect 2414 -325 2421 -273
rect 2473 -325 2481 -273
rect 2414 -333 2481 -325
rect 2523 -268 2589 -261
rect 2523 -320 2530 -268
rect 2582 -320 2589 -268
rect 3785 -268 3851 -261
rect 4338 -266 4372 -233
rect 2523 -327 2589 -320
rect 3039 -284 3106 -277
rect 1131 -343 1198 -336
rect 2431 -406 2465 -333
rect 3039 -336 3047 -284
rect 3099 -336 3106 -284
rect 3785 -320 3792 -268
rect 3844 -320 3851 -268
rect 3785 -327 3851 -320
rect 4321 -273 4387 -266
rect 4321 -325 4329 -273
rect 4381 -325 4387 -273
rect 3039 -343 3106 -336
rect 3056 -406 3090 -343
rect 3801 -406 3835 -327
rect 4321 -332 4387 -325
rect -129 -440 3835 -406
<< labels >>
flabel metal2 -129 -341 -95 -307 0 FreeSans 240 0 0 0 CLK
flabel polycont 311 -341 345 -307 0 FreeSans 240 0 0 0 DIN
flabel locali 4682 -342 4716 -308 0 FreeSans 240 0 0 0 Q
flabel viali 13 26 47 60 0 FreeSans 240 0 0 0 VDD
flabel viali 13 -518 47 -484 0 FreeSans 240 0 0 0 VSS
<< end >>
